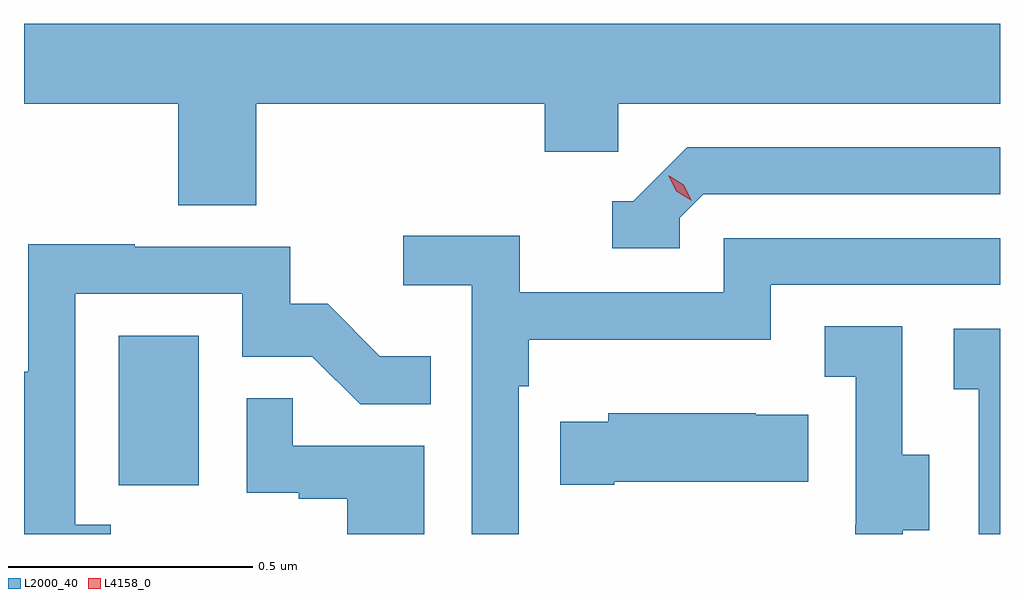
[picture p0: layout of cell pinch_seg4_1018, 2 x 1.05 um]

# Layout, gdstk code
import gdstk
lib = gdstk.Library(unit=1e-6, precision=1e-09)
def R(c, l, rs):  # rectangles x0, y0, x1, y1
    for r in rs: c.add(gdstk.rectangle(r[:2], r[2:], *l))
def P(c, l, *ps):  # polygons
    for p in ps: c.add(gdstk.Polygon(p, *l))
L2000_40 = (2000, 40)
L4158_0 = (4158, 0)

pinch_seg4_1018 = lib.new_cell('pinch_seg4_1018')
R(pinch_seg4_1018, L2000_40, [(849.746,788.046,849.91,788.353)])
P(pinch_seg4_1018, L2000_40, [(850.028,788.828),(850.619,788.828),(850.619,788.73),(850.77,788.73),(850.77,788.828),(851.552,788.828),(851.552,788.992),(849.552,788.992),(849.552,788.828),(849.868,788.828),(849.868,788.62),(850.028,788.62)],
  [(850.896,788.595),(850.944,788.643),(851.552,788.643),(851.552,788.739),(850.911,788.739),(850.8,788.628),(850.757,788.628),(850.757,788.532),(850.896,788.532)],
  [(850.566,788.249),(850.586,788.249),(850.586,788.345),(851.082,788.345),(851.082,788.457),(851.552,788.457),(851.552,788.553),(850.986,788.553),(850.986,788.442),(850.568,788.442),(850.568,788.558),(850.329,788.558),(850.329,788.456),(850.47,788.456),(850.47,787.946),(850.566,787.946)],
  [(849.73,787.965),(849.657,787.965),(849.657,788.439),(849.999,788.439),(849.999,788.31),(850.143,788.31),(850.241,788.212),(850.385,788.212),(850.385,788.311),(850.281,788.311),(850.174,788.418),(850.098,788.418),(850.098,788.535),(849.779,788.535),(849.779,788.54),(849.561,788.54),(849.561,788.279),(849.552,788.279),(849.552,787.946),(849.73,787.946)],
  [(851.353,787.954),(851.407,787.954),(851.407,788.109),(851.352,788.109),(851.352,788.372),(851.193,788.372),(851.193,788.269),(851.256,788.269),(851.256,787.965),(851.255,787.965),(851.255,787.946),(851.353,787.946)],
  [(851.552,788.367),(851.457,788.367),(851.457,788.243),(851.508,788.243),(851.508,787.946),(851.552,787.946)],
  [(850.372,788.127),(850.103,788.127),(850.103,788.225),(850.008,788.225),(850.008,788.031),(850.115,788.031),(850.115,788.019),(850.214,788.019),(850.214,787.946),(850.372,787.946)],
  [(850.762,788.054),(851.159,788.054),(851.159,788.191),(851.051,788.191),(851.051,788.194),(850.749,788.194),(850.749,788.176),(850.651,788.176),(850.651,788.047),(850.762,788.047)])
P(pinch_seg4_1018, L4158_0, [(850.92,788.629),(850.889,788.649),(850.873,788.681),(850.873,788.681),(850.874,788.681),(850.904,788.662),(850.92,788.629),(850.92,788.629)])

lib.write_gds('pinch_seg4_1018.gds')
